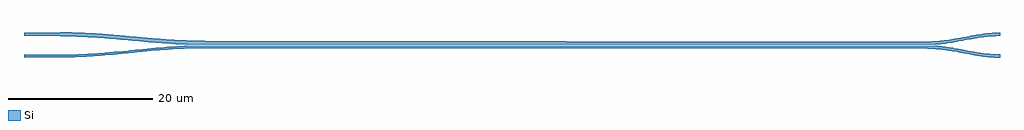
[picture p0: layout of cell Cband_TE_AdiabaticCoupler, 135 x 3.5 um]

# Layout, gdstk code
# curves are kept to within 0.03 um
import gdstk
lib = gdstk.Library(unit=1e-6, precision=1e-09)
def P(c, l, *ps):  # polygons
    for p in ps: c.add(gdstk.Polygon(p, *l))
Si = (1, 0)

cband_te_adiabaticcouple = lib.new_cell('Cband_TE_AdiabaticCoupler')
P(cband_te_adiabaticcouple, Si, [(24.8,0.05),(22.4,0.098),(19.8,0.235),(11.8,0.921),(9.2,1.102),(5,1.225),(5,1.775),(9.217,1.652),(11.824,1.471),(19.82,0.785),(22.411,0.648),(25,0.6),(25,0.05)],
  [(5,-1.675),(5,-1.325),(7,-1.294),(9.4,-1.179),(11.8,-0.995),(19.8,-0.251),(22.4,-0.102),(25,-0.05),(25,-0.4),(23,-0.431),(20.6,-0.546),(18.2,-0.73),(10.2,-1.474),(7.6,-1.623)],
  [(125,0.05),(125,0.5),(126.1,0.536),(127.3,0.653),(132.5,1.546),(133.7,1.675),(135,1.725),(135,1.275),(133.9,1.239),(132.7,1.122),(127.5,0.229),(126.3,0.1)],
  [(134.9,-1.725),(133.7,-1.675),(132.3,-1.518),(127.3,-0.653),(126.1,-0.536),(125,-0.5),(125,-0.05),(126.1,-0.086),(127.3,-0.203),(132.5,-1.096),(133.7,-1.225),(135,-1.275),(135,-1.725)],
  [(5,1.225),(0,1.275),(0,1.725),(5,1.775)],
  [(0,-1.725),(0,-1.275),(5,-1.325),(5,-1.675)],
  [(25,0.05),(25,0.6),(125,0.5),(125,0.05)],
  [(125,-0.5),(25,-0.4),(25,-0.05),(125,-0.05)])

lib.write_gds('Cband_TE_AdiabaticCoupler.gds')
